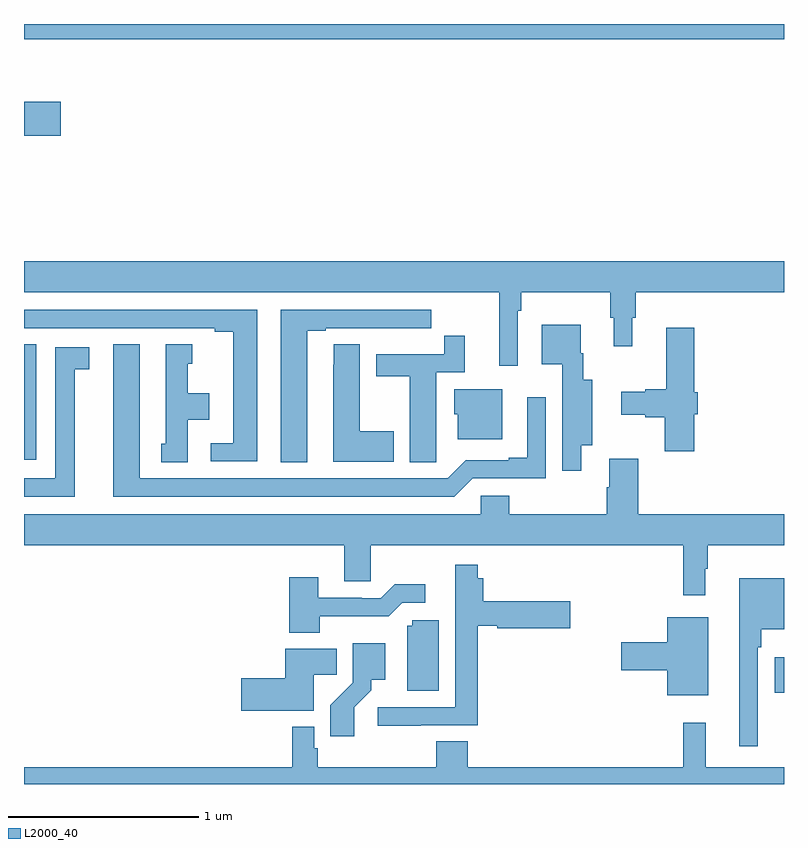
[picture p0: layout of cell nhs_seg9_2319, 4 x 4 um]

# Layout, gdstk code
import gdstk
lib = gdstk.Library(unit=1e-6, precision=1e-09)
def R(c, l, rs):  # rectangles x0, y0, x1, y1
    for r in rs: c.add(gdstk.rectangle(r[:2], r[2:], *l))
def P(c, l, *ps):  # polygons
    for p in ps: c.add(gdstk.Polygon(p, *l))
L2000_40 = (2000, 40)

nhs_seg9_2319 = lib.new_cell('nhs_seg9_2319')
R(nhs_seg9_2319, L2000_40, [(246.95,1192.979,247,1193.167), (243,1194.207,243.064,1194.815), (243,1195.913,243.193,1196.091), (243,1196.42,247,1196.5)])
P(nhs_seg9_2319, L2000_40, [(245.598,1194.992),(245.618,1194.992),(245.618,1195.088),(246.085,1195.088),(246.085,1194.954),(246.104,1194.954),(246.104,1194.804),(246.202,1194.804),(246.202,1194.954),(246.221,1194.954),(246.221,1195.088),(247,1195.088),(247,1195.252),(243,1195.252),(243,1195.088),(245.501,1195.088),(245.501,1194.702),(245.598,1194.702)],
  [(244.492,1194.885),(244.588,1194.885),(244.588,1194.9),(244.864,1194.9),(244.864,1194.899),(245.03,1194.899),(245.03,1194.9),(245.143,1194.9),(245.143,1194.996),(244.352,1194.996),(244.352,1194.193),(244.492,1194.193)],
  [(244.228,1194.996),(243,1194.996),(243,1194.9),(244.004,1194.9),(244.004,1194.88),(244.1,1194.88),(244.1,1194.294),(243.984,1194.294),(243.984,1194.198),(244.228,1194.198)],
  [(245.932,1194.284),(245.992,1194.284),(245.992,1194.628),(245.944,1194.628),(245.944,1194.768),(245.931,1194.768),(245.931,1194.916),(245.726,1194.916),(245.726,1194.71),(245.833,1194.71),(245.833,1194.388),(245.834,1194.388),(245.834,1194.15),(245.932,1194.15)],
  [(246.527,1194.447),(246.545,1194.447),(246.545,1194.561),(246.527,1194.561),(246.527,1194.901),(246.38,1194.901),(246.38,1194.578),(246.27,1194.578),(246.27,1194.565),(246.144,1194.565),(246.144,1194.443),(246.27,1194.443),(246.27,1194.431),(246.373,1194.431),(246.373,1194.252),(246.527,1194.252)],
  [(245.169,1194.304),(245.17,1194.304),(245.17,1194.666),(245.321,1194.666),(245.321,1194.859),(245.212,1194.859),(245.212,1194.762),(244.853,1194.762),(244.853,1194.646),(245.03,1194.646),(245.03,1194.193),(245.169,1194.193)],
  [(244.945,1194.357),(244.768,1194.357),(244.768,1194.815),(244.629,1194.815),(244.629,1194.707),(244.628,1194.707),(244.628,1194.197),(244.945,1194.197)],
  [(243.862,1194.416),(243.976,1194.416),(243.976,1194.556),(243.862,1194.556),(243.862,1194.711),(243.886,1194.711),(243.886,1194.814),(243.746,1194.814),(243.746,1194.291),(243.722,1194.291),(243.722,1194.193),(243.862,1194.193)],
  [(245.361,1194.108),(245.745,1194.108),(245.745,1194.535),(245.648,1194.535),(245.648,1194.217),(245.552,1194.217),(245.552,1194.204),(245.325,1194.204),(245.229,1194.108),(243.61,1194.108),(243.61,1194.814),(243.47,1194.814),(243.47,1194.012),(245.265,1194.012)],
  [(243.268,1194.682),(243.343,1194.682),(243.343,1194.798),(243.164,1194.798),(243.164,1194.108),(243,1194.108),(243,1194.012),(243.268,1194.012)],
  [(245.518,1194.577),(245.264,1194.577),(245.264,1194.447),(245.282,1194.447),(245.282,1194.314),(245.518,1194.314)],
  [(246.586,1193.633),(246.598,1193.633),(246.598,1193.756),(247,1193.756),(247,1193.92),(246.233,1193.92),(246.233,1194.211),(246.08,1194.211),(246.08,1194.062),(246.068,1194.062),(246.068,1193.92),(245.555,1193.92),(245.555,1194.018),(245.403,1194.018),(245.403,1193.92),(243,1193.92),(243,1193.756),(244.685,1193.756),(244.685,1193.566),(244.824,1193.566),(244.824,1193.756),(246.469,1193.756),(246.469,1193.493),(246.586,1193.493)],
  [(245.087,1192.809),(245.387,1192.809),(245.387,1193.333),(245.49,1193.333),(245.49,1193.321),(245.875,1193.321),(245.875,1193.463),(245.417,1193.463),(245.417,1193.584),(245.387,1193.584),(245.387,1193.653),(245.271,1193.653),(245.271,1192.905),(244.863,1192.905),(244.863,1192.807),(245.087,1192.807)],
  [(244.557,1193.384),(244.921,1193.384),(244.992,1193.454),(245.113,1193.454),(245.113,1193.551),(244.951,1193.551),(244.878,1193.478),(244.778,1193.478),(244.778,1193.481),(244.549,1193.481),(244.549,1193.587),(244.397,1193.587),(244.397,1193.297),(244.557,1193.297)],
  [(246.861,1193.219),(246.881,1193.219),(246.881,1193.315),(247,1193.315),(247,1193.584),(246.764,1193.584),(246.764,1192.698),(246.861,1192.698)],
  [(246.601,1193.377),(246.386,1193.377),(246.386,1193.246),(246.144,1193.246),(246.144,1193.099),(246.386,1193.099),(246.386,1192.967),(246.601,1192.967)],
  [(245.182,1193.361),(245.043,1193.361),(245.043,1193.334),(245.018,1193.334),(245.018,1192.99),(245.182,1192.99)],
  [(244.738,1192.903),(244.828,1192.993),(244.828,1193.048),(244.9,1193.048),(244.9,1193.242),(244.731,1193.242),(244.731,1193.033),(244.612,1192.914),(244.612,1192.752),(244.738,1192.752)],
  [(244.525,1193.074),(244.646,1193.074),(244.646,1193.212),(244.376,1193.212),(244.376,1193.057),(244.143,1193.057),(244.143,1192.886),(244.525,1192.886)],
  [(247,1192.588),(246.587,1192.588),(246.587,1192.822),(246.469,1192.822),(246.469,1192.588),(245.336,1192.588),(245.336,1192.724),(245.171,1192.724),(245.171,1192.588),(244.547,1192.588),(244.547,1192.689),(244.527,1192.689),(244.527,1192.801),(244.411,1192.801),(244.411,1192.588),(243,1192.588),(243,1192.5),(247,1192.5)])

lib.write_gds('nhs_seg9_2319.gds')
